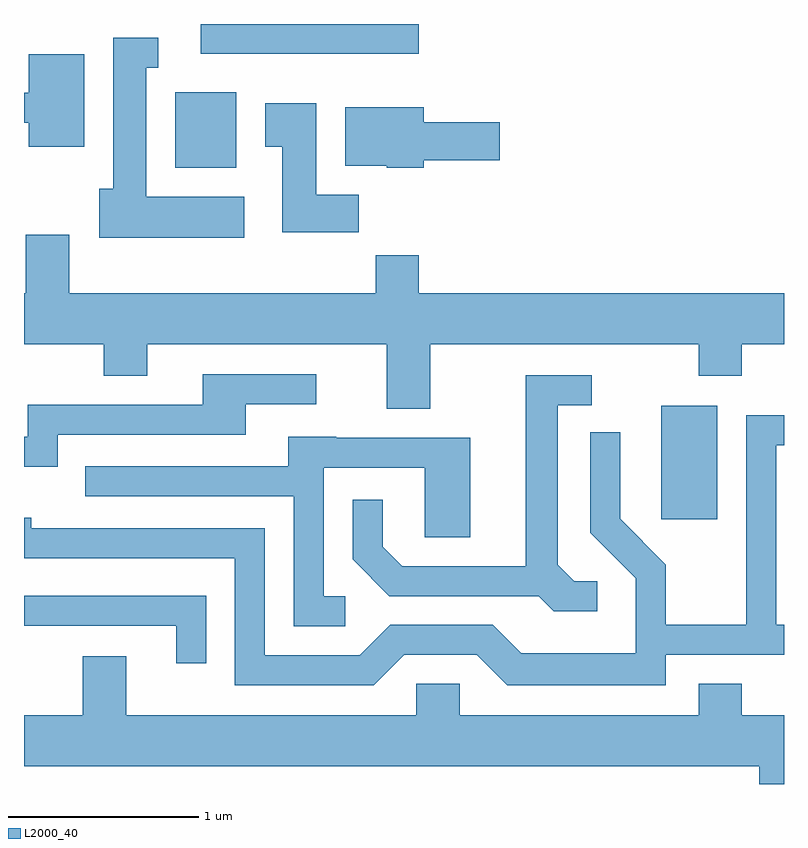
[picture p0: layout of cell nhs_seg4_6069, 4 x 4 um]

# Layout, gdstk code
import gdstk
lib = gdstk.Library(unit=1e-6, precision=1e-09)
def R(c, l, rs):  # rectangles x0, y0, x1, y1
    for r in rs: c.add(gdstk.rectangle(r[:2], r[2:], *l))
def P(c, l, *ps):  # polygons
    for p in ps: c.add(gdstk.Polygon(p, *l))
L2000_40 = (2000, 40)

nhs_seg4_6069 = lib.new_cell('nhs_seg4_6069')
R(nhs_seg4_6069, L2000_40, [(366.966,1289.376,367.259,1289.974), (364.406,1291.226,364.729,1291.624), (364.541,1291.826,365.689,1291.982)])
P(nhs_seg4_6069, L2000_40, [(364.769,1291.074),(364.254,1291.074),(364.254,1291.751),(364.318,1291.751),(364.318,1291.909),(364.081,1291.909),(364.081,1291.114),(364.006,1291.114),(364.006,1290.856),(364.769,1290.856)],
  [(363.929,1291.824),(363.636,1291.824),(363.636,1291.619),(363.611,1291.619),(363.611,1291.461),(363.636,1291.461),(363.636,1291.336),(363.929,1291.336)],
  [(365.374,1291.084),(365.149,1291.084),(365.149,1291.564),(364.881,1291.564),(364.881,1291.336),(364.971,1291.336),(364.971,1290.886),(365.374,1290.886)],
  [(365.714,1291.266),(366.114,1291.266),(366.114,1291.464),(365.714,1291.464),(365.714,1291.544),(365.301,1291.544),(365.301,1291.236),(365.52,1291.236),(365.52,1291.226),(365.714,1291.226)],
  [(365.749,1290.296),(367.161,1290.296),(367.161,1290.131),(367.389,1290.131),(367.389,1290.296),(367.611,1290.296),(367.611,1290.564),(365.689,1290.564),(365.689,1290.764),(365.461,1290.764),(365.461,1290.564),(363.849,1290.564),(363.849,1290.874),(363.621,1290.874),(363.621,1290.564),(363.611,1290.564),(363.611,1290.296),(364.031,1290.296),(364.031,1290.131),(364.259,1290.131),(364.259,1290.296),(365.521,1290.296),(365.521,1289.956),(365.749,1289.956)],
  [(363.789,1289.821),(364.779,1289.821),(364.779,1289.981),(365.148,1289.981),(365.148,1290.139),(364.551,1290.139),(364.551,1289.979),(363.631,1289.979),(363.631,1289.809),(363.611,1289.809),(363.611,1289.651),(363.789,1289.651)],
  [(366.628,1289.049),(366.507,1289.049),(366.419,1289.137),(366.419,1289.976),(366.598,1289.976),(366.598,1290.134),(366.251,1290.134),(366.251,1289.129),(365.602,1289.129),(365.499,1289.232),(365.499,1289.478),(365.341,1289.478),(365.341,1289.164),(365.534,1288.971),(366.319,1288.971),(366.399,1288.891),(366.628,1288.891)],
  [(365.612,1288.661),(365.994,1288.661),(366.154,1288.501),(366.989,1288.501),(366.989,1288.661),(367.611,1288.661),(367.611,1288.819),(367.569,1288.819),(367.569,1289.766),(367.611,1289.766),(367.611,1289.924),(367.411,1289.924),(367.411,1288.819),(366.989,1288.819),(366.989,1289.137),(366.749,1289.377),(366.749,1289.833),(366.591,1289.833),(366.591,1289.304),(366.831,1289.064),(366.831,1288.669),(366.227,1288.669),(366.077,1288.819),(365.539,1288.819),(365.379,1288.659),(364.879,1288.659),(364.879,1289.329),(363.649,1289.329),(363.649,1289.384),(363.611,1289.384),(363.611,1289.171),(364.721,1289.171),(364.721,1288.501),(365.452,1288.501)],
  [(365.303,1288.969),(365.189,1288.969),(365.189,1289.646),(365.721,1289.646),(365.721,1289.281),(365.959,1289.281),(365.959,1289.804),(365.255,1289.804),(365.255,1289.809),(365.001,1289.809),(365.001,1289.654),(363.933,1289.654),(363.933,1289.496),(365.031,1289.496),(365.031,1288.811),(365.303,1288.811)],
  [(364.569,1288.974),(363.611,1288.974),(363.611,1288.816),(364.411,1288.816),(364.411,1288.618),(364.569,1288.618)],
  [(367.611,1288.344),(367.389,1288.344),(367.389,1288.509),(367.161,1288.509),(367.161,1288.344),(365.904,1288.344),(365.904,1288.509),(365.676,1288.509),(365.676,1288.344),(364.149,1288.344),(364.149,1288.654),(363.921,1288.654),(363.921,1288.344),(363.611,1288.344),(363.611,1288.076),(367.481,1288.076),(367.481,1287.982),(367.611,1287.982)])

lib.write_gds('nhs_seg4_6069.gds')
